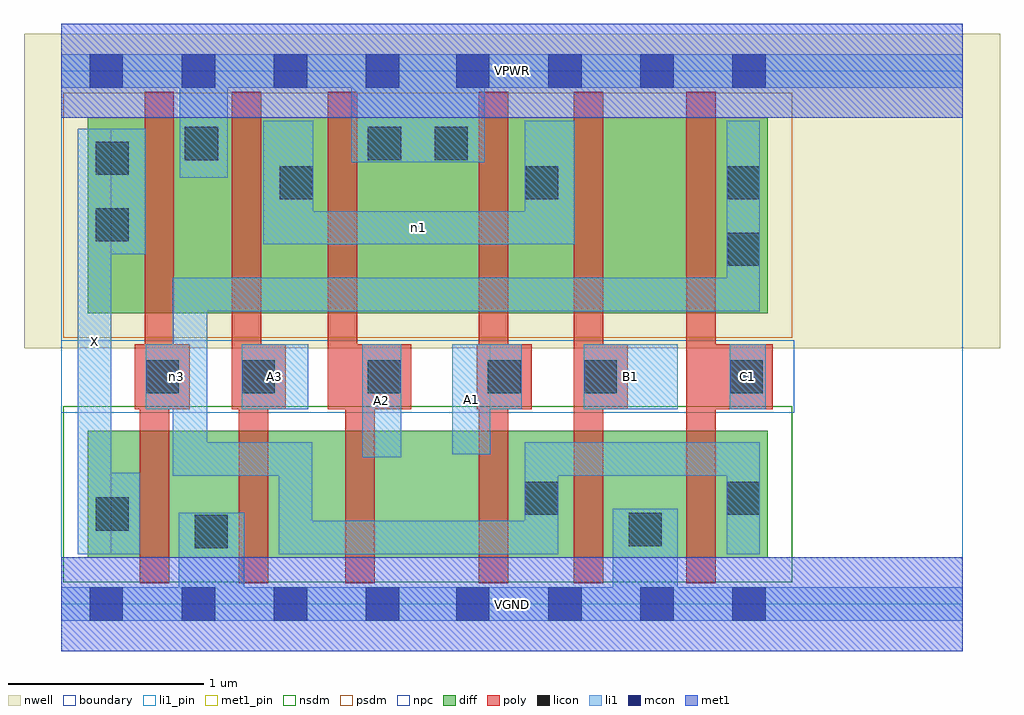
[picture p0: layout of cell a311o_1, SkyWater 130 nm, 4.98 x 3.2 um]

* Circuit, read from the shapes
.subckt a311o_1 A1 A2 A3 B1 C1 VGND VPWR X n1 n3
XM1 VGND n3 X VSUBS sky130_fd_pr__nfet_01v8 w=0.65 l=0.15
XM2 n2 A3 VGND VSUBS sky130_fd_pr__nfet_01v8 w=0.65 l=0.15
XM3 n4 A2 n2 VSUBS sky130_fd_pr__nfet_01v8 w=0.65 l=0.15
XM4 n3 A1 n4 VSUBS sky130_fd_pr__nfet_01v8 w=0.65 l=0.15
XM5 VGND B1 n3 VSUBS sky130_fd_pr__nfet_01v8 w=0.65 l=0.15
XM6 n3 C1 VGND VSUBS sky130_fd_pr__nfet_01v8 w=0.65 l=0.15
XM7 VPWR n3 X n5 sky130_fd_pr__pfet_01v8 w=1 l=0.15
XM8 n1 A3 VPWR n5 sky130_fd_pr__pfet_01v8 w=1 l=0.15
XM9 VPWR A2 n1 n5 sky130_fd_pr__pfet_01v8 w=1 l=0.15
XM10 n1 A1 VPWR n5 sky130_fd_pr__pfet_01v8 w=1 l=0.15
XM11 n6 B1 n1 n5 sky130_fd_pr__pfet_01v8 w=1 l=0.15
XM12 n3 C1 n6 n5 sky130_fd_pr__pfet_01v8 w=1 l=0.15
.ends

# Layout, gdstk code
import gdstk
lib = gdstk.Library(unit=1e-6, precision=1e-09)
def R(c, l, rs):  # rectangles x0, y0, x1, y1
    for r in rs: c.add(gdstk.rectangle(r[:2], r[2:], *l))
def A(c, l, x, y, w, h, nx, ny, dx, dy):  # array of equal rectangles
    R(c, l, [(x+i*dx, y+j*dy, x+i*dx+w, y+j*dy+h) for i in range(nx) for j in range(ny)])
nwell = (64, 20)
diff = (65, 20)
poly = (66, 20)
licon = (66, 44)
li1_pin = (67, 16)
li1 = (67, 20)
mcon = (67, 44)
met1_pin = (68, 16)
met1 = (68, 20)
nsdm = (93, 44)
psdm = (94, 20)
npc = (95, 20)
boundary = (235, 4)

a311o_1 = lib.new_cell('a311o_1')
R(a311o_1, nwell, [(-0.19,1.305,4.79,2.91), (0,1.305,4.6,2.91)])
R(a311o_1, diff, [(0.135,0.235,3.605,0.885), (0.135,1.485,3.605,2.485)])
R(a311o_1, poly, [(0.4,0.105,0.55,1.325), (0.905,0.105,1.055,1.325), (1.45,0.105,1.6,1.325), (2.13,0.105,2.28,2.615), (2.615,0.105,2.765,2.615), (3.19,0.105,3.34,2.615), (0.375,0.995,0.655,1.325), (0.425,0.995,0.575,2.615), (0.87,0.995,1.02,2.615), (0.87,0.995,1.145,1.325), (1.36,0.995,1.51,2.615), (1.36,0.995,1.785,1.325), (2.12,0.995,2.4,1.325), (2.615,0.995,2.89,1.325), (3.19,0.995,3.63,1.325)])
R(a311o_1, licon, [(0.68,0.285,0.85,0.455), (2.895,0.295,3.065,0.465), (0.175,0.375,0.345,0.545), (2.365,0.455,2.535,0.625), (3.395,0.455,3.565,0.625), (0.43,1.075,0.6,1.245), (0.92,1.075,1.09,1.245), (1.565,1.075,1.735,1.245), (2.175,1.075,2.345,1.245), (2.665,1.075,2.835,1.245), (3.41,1.075,3.58,1.245), (3.395,1.725,3.565,1.895), (0.175,1.85,0.345,2.02), (1.115,2.065,1.285,2.235), (2.365,2.065,2.535,2.235), (3.395,2.065,3.565,2.235), (0.175,2.19,0.345,2.36), (0.63,2.265,0.8,2.435), (1.565,2.265,1.735,2.435), (1.905,2.265,2.075,2.435)])
R(a311o_1, li1_pin, [(0.085,0.255,0.255,2.425), (1.535,0.75,1.735,1.325), (1.995,0.765,2.19,1.325), (0.92,0.995,1.26,1.325), (2.665,0.995,3.145,1.325), (3.41,0.995,3.595,1.325)])
R(a311o_1, li1, [(0,-0.085,4.6,0.085), (0.6,-0.085,0.935,0.465), (2.815,-0.085,3.145,0.485), (0.085,0.255,0.255,2.425), (0.085,0.255,0.4,0.67), (1.11,0.255,2.535,0.425), (1.11,0.255,1.28,0.825), (2.365,0.255,2.535,0.825), (3.395,0.255,3.565,0.825), (0.57,0.655,0.745,1.665), (0.57,0.655,1.28,0.825), (2.365,0.655,3.565,0.825), (1.535,0.75,1.735,1.325), (1.995,0.765,2.19,1.325), (0.43,0.995,0.745,1.325), (0.92,0.995,1.26,1.325), (1.995,0.995,2.35,1.325), (2.665,0.995,3.145,1.325), (3.41,0.995,3.595,1.325), (0.57,1.495,3.565,1.665), (3.395,1.495,3.565,2.465), (0.085,1.785,0.43,2.425), (1.03,1.835,2.62,2.005), (1.03,1.835,1.285,2.465), (2.365,1.835,2.62,2.465), (0.605,2.175,0.85,2.805), (1.48,2.255,2.16,2.805), (0,2.635,4.6,2.805)])
A(a311o_1, mcon, 0.145, -0.085, 0.17, 0.17, 4, 2, 0.47, 2.72)
A(a311o_1, mcon, 2.015, -0.085, 0.17, 0.17, 4, 2, 0.47, 2.72)
R(a311o_1, met1_pin, [(0,-0.24,4.6,0.24), (0,2.48,4.6,2.96)])
R(a311o_1, met1, [(0,-0.24,4.6,0.24), (0,2.48,4.6,2.96)])
R(a311o_1, nsdm, [(0.01,0.11,3.73,1.01)])
R(a311o_1, psdm, [(0.01,1.36,3.73,2.61)])
R(a311o_1, npc, [(0,0.975,3.74,1.345)])
R(a311o_1, boundary, [(0,0,4.6,2.72)])
a311o_1.add(gdstk.Label('A1', (2.092,1.045), layer=67, texttype=5))
a311o_1.add(gdstk.Label('A2', (1.635,1.037), layer=67, texttype=5))
a311o_1.add(gdstk.Label('A3', (1.09,1.16), layer=67, texttype=5))
a311o_1.add(gdstk.Label('B1', (2.905,1.16), layer=67, texttype=5))
a311o_1.add(gdstk.Label('C1', (3.502,1.16), layer=67, texttype=5))
a311o_1.add(gdstk.Label('X', (0.17,1.34), layer=67, texttype=5))
a311o_1.add(gdstk.Label('n1', (1.825,1.92), layer=67, texttype=5))
a311o_1.add(gdstk.Label('n3', (0.587,1.16), layer=67, texttype=5))
a311o_1.add(gdstk.Label('VPWR', (2.3,2.72), layer=68, texttype=5))
a311o_1.add(gdstk.Label('VGND', (2.3,0), layer=68, texttype=5))
a311o_1.add(gdstk.Label('A1', (2.092,1.045), layer=67, texttype=16))
a311o_1.add(gdstk.Label('A2', (1.635,1.037), layer=67, texttype=16))
a311o_1.add(gdstk.Label('A3', (1.09,1.16), layer=67, texttype=16))
a311o_1.add(gdstk.Label('B1', (2.905,1.16), layer=67, texttype=16))
a311o_1.add(gdstk.Label('C1', (3.502,1.16), layer=67, texttype=16))
a311o_1.add(gdstk.Label('X', (0.17,1.34), layer=67, texttype=16))
a311o_1.add(gdstk.Label('VPWR', (2.3,2.72), layer=68, texttype=16))
a311o_1.add(gdstk.Label('VGND', (2.3,0), layer=68, texttype=16))

lib.write_gds('a311o_1.gds')
